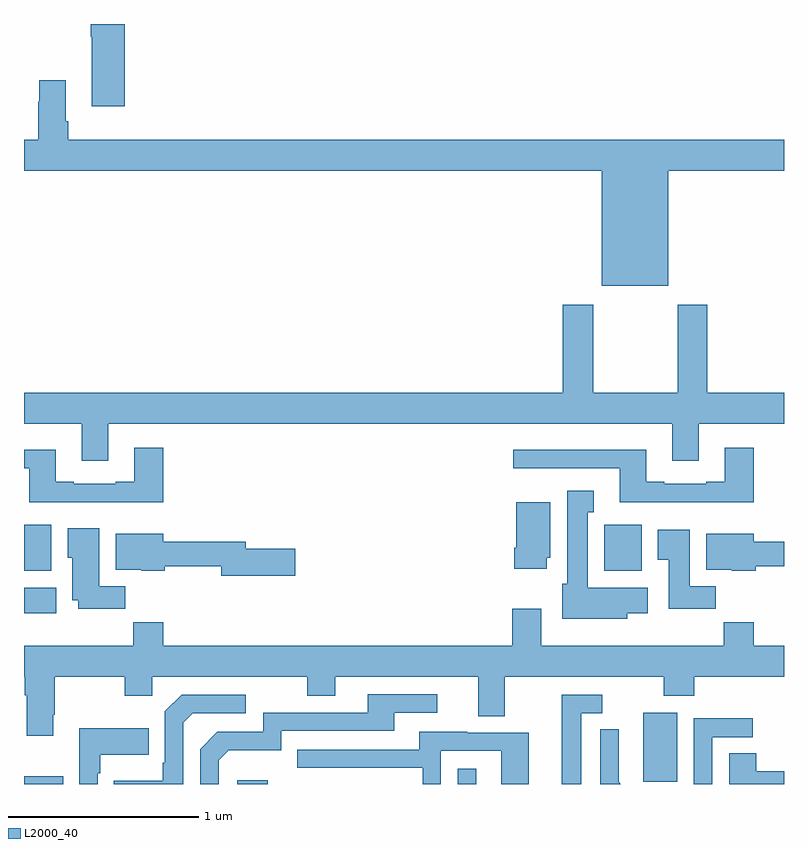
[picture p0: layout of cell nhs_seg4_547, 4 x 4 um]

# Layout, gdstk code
import gdstk
lib = gdstk.Library(unit=1e-6, precision=1e-09)
def R(c, l, rs):  # rectangles x0, y0, x1, y1
    for r in rs: c.add(gdstk.rectangle(r[:2], r[2:], *l))
def P(c, l, *ps):  # polygons
    for p in ps: c.add(gdstk.Polygon(p, *l))
L2000_40 = (2000, 40)

nhs_seg4_547 = lib.new_cell('nhs_seg4_547')
R(nhs_seg4_547, L2000_40, [(137,818.9,137.206,818.941), (138.123,818.9,138.284,818.92), (139.284,818.9,139.381,818.98), (140.258,818.913,140.437,819.274), (137,819.8,137.17,819.934), (137,820.022,137.143,820.264), (140.054,820.022,140.251,820.264)])
P(nhs_seg4_547, L2000_40, [(137.53,822.9),(137.35,822.9),(137.35,822.833),(137.357,822.833),(137.357,822.468),(137.53,822.468)],
  [(140.042,821.522),(140.392,821.522),(140.392,822.128),(141,822.128),(141,822.292),(137.234,822.292),(137.234,822.388),(137.221,822.388),(137.221,822.604),(137.081,822.604),(137.081,822.491),(137.074,822.491),(137.074,822.292),(137,822.292),(137,822.128),(140.042,822.128)],
  [(137.443,820.796),(140.411,820.796),(140.411,820.602),(140.551,820.602),(140.551,820.796),(141,820.796),(141,820.96),(140.595,820.96),(140.595,821.422),(140.44,821.422),(140.44,820.96),(139.995,820.96),(139.995,821.422),(139.835,821.422),(139.835,820.96),(137,820.96),(137,820.796),(137.303,820.796),(137.303,820.602),(137.443,820.602)],
  [(137.732,820.669),(137.579,820.669),(137.579,820.492),(137.483,820.492),(137.483,820.479),(137.263,820.479),(137.263,820.492),(137.167,820.492),(137.167,820.66),(137,820.66),(137,820.563),(137.027,820.563),(137.027,820.382),(137.732,820.382)],
  [(140.84,820.669),(140.687,820.669),(140.687,820.492),(140.591,820.492),(140.591,820.479),(140.371,820.479),(140.371,820.492),(140.275,820.492),(140.275,820.66),(139.575,820.66),(139.575,820.563),(140.135,820.563),(140.135,820.382),(140.84,820.382)],
  [(140.176,819.8),(140.284,819.8),(140.284,819.934),(139.966,819.934),(139.966,820.331),(139.999,820.331),(139.999,820.444),(139.859,820.444),(139.859,819.954),(139.832,819.954),(139.832,819.77),(140.176,819.77)],
  [(139.75,820.092),(139.771,820.092),(139.771,820.384),(139.592,820.384),(139.592,820.144),(139.58,820.144),(139.58,820.032),(139.75,820.032)],
  [(137.534,819.94),(137.395,819.94),(137.395,820.246),(137.231,820.246),(137.231,820.092),(137.255,820.092),(137.255,819.866),(137.285,819.866),(137.285,819.822),(137.534,819.822)],
  [(140.642,819.94),(140.503,819.94),(140.503,820.237),(140.336,820.237),(140.336,820.081),(140.393,820.081),(140.393,819.822),(140.642,819.822)],
  [(138.427,820.139),(138.166,820.139),(138.166,820.175),(137.734,820.175),(137.734,820.216),(137.483,820.216),(137.483,820.028),(137.616,820.028),(137.616,820.022),(137.742,820.022),(137.742,820.047),(138.038,820.047),(138.038,819.997),(138.427,819.997)],
  [(140.85,820.047),(141,820.047),(141,820.175),(140.842,820.175),(140.842,820.216),(140.591,820.216),(140.591,820.028),(140.724,820.028),(140.724,820.022),(140.85,820.022)],
  [(137.155,819.265),(137.163,819.265),(137.163,819.464),(137.53,819.464),(137.53,819.365),(137.676,819.365),(137.676,819.464),(138.49,819.464),(138.49,819.365),(138.637,819.365),(138.637,819.464),(139.391,819.464),(139.391,819.256),(139.531,819.256),(139.531,819.464),(140.368,819.464),(140.368,819.365),(140.528,819.365),(140.528,819.464),(141,819.464),(141,819.628),(140.84,819.628),(140.84,819.752),(140.683,819.752),(140.683,819.628),(139.723,819.628),(139.723,819.823),(139.571,819.823),(139.571,819.628),(137.732,819.628),(137.732,819.752),(137.575,819.752),(137.575,819.628),(137,819.628),(137,819.464),(137.003,819.464),(137.003,819.368),(137.015,819.368),(137.015,819.153),(137.155,819.153)],
  [(138.024,819.024),(138.077,819.077),(138.354,819.077),(138.354,819.18),(138.949,819.18),(138.949,819.276),(139.174,819.276),(139.174,819.372),(138.809,819.372),(138.809,819.276),(138.258,819.276),(138.258,819.174),(138.018,819.174),(137.928,819.084),(137.928,818.9),(138.024,818.9)],
  [(139.933,819.273),(140.044,819.273),(140.044,819.369),(139.829,819.369),(139.829,818.9),(139.933,818.9)],
  [(137.838,819.222),(137.889,819.273),(138.166,819.273),(138.166,819.369),(137.829,819.369),(137.742,819.282),(137.742,819.013),(137.73,819.013),(137.73,818.917),(137.473,818.917),(137.473,818.9),(137.838,818.9)],
  [(140.622,819.147),(140.836,819.147),(140.836,819.246),(140.526,819.246),(140.526,818.9),(140.622,818.9)],
  [(137.388,818.957),(137.401,818.957),(137.401,819.053),(137.657,819.053),(137.657,819.193),(137.292,819.193),(137.292,818.9),(137.388,818.9)],
  [(140.129,818.912),(140.129,819.034),(140.13,819.034),(140.13,819.188),(140.034,819.188),(140.034,818.9),(140.141,818.9)],
  [(139.194,819.075),(139.512,819.075),(139.512,818.9),(139.657,818.9),(139.657,819.171),(139.333,819.171),(139.333,819.175),(139.079,819.175),(139.079,819.081),(138.439,819.081),(138.439,818.985),(139.098,818.985),(139.098,818.9),(139.194,818.9)],
  [(141,818.967),(140.855,818.967),(140.855,819.062),(140.711,819.062),(140.711,818.9),(141,818.9)])

lib.write_gds('nhs_seg4_547.gds')
